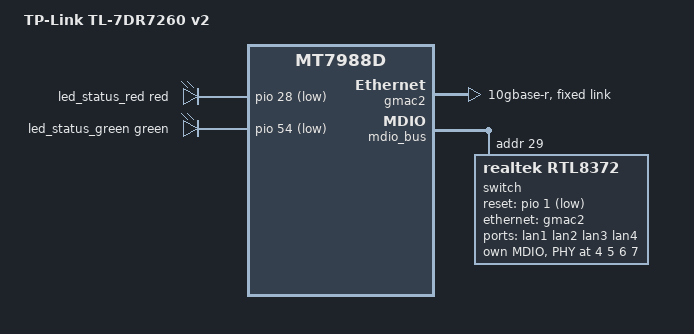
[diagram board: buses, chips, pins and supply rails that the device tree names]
// SPDX-License-Identifier: GPL-2.0-or-later OR MIT

/dts-v1/;
#include "mt7988d-tplink-tl-7dr72xx.dtsi"

/ {
	model = "TP-Link TL-7DR7260 v2";
	compatible = "tplink,tl-7dr7260-v2", "mediatek,mt7988d";

	aliases {
		label-mac-device = &gmac2;
		led-boot = &led_status_green;
		led-failsafe = &led_status_red;
		led-running = &led_status_green;
		led-upgrade = &led_status_red;
	};

	leds {
		compatible = "gpio-leds";

		led_status_red: status-red {
			function = LED_FUNCTION_STATUS;
			color = <LED_COLOR_ID_RED>;
			gpios = <&pio 28 GPIO_ACTIVE_LOW>;
		};

		led_status_green: status-green {
			function = LED_FUNCTION_STATUS;
			color = <LED_COLOR_ID_GREEN>;
			gpios = <&pio 54 GPIO_ACTIVE_LOW>;
		};
	};
};

&gmac1 {
	nvmem-cells = <&macaddr_config_1c 1>;
	nvmem-cell-names = "mac-address";
};

&gmac2 {
	nvmem-cells = <&macaddr_config_1c 0>;
	nvmem-cell-names = "mac-address";
	phy-mode = "10gbase-r";
	status = "okay";

	fixed-link {
		speed = <10000>;
		full-duplex;
		pause;
	};
};

&mdio_bus {
	switch@29 {
		compatible = "realtek,rtl8372";
		reg = <29>;
		reset-gpios = <&pio 1 GPIO_ACTIVE_LOW>;

		mdio {
			#address-cells = <1>;
			#size-cells = <0>;

			phy4: ethernet-phy@4 {
				reg = <4>;
			};

			phy5: ethernet-phy@5 {
				reg = <5>;
			};

			phy6: ethernet-phy@6 {
				reg = <6>;
			};

			phy7: ethernet-phy@7 {
				reg = <7>;
			};
		};

		ports {
			#address-cells = <1>;
			#size-cells = <0>;

			port@3 {
				reg = <3>;
				ethernet = <&gmac2>;
				phy-mode = "10gbase-r";

				fixed-link {
					speed = <10000>;
					full-duplex;
					pause;
				};
			};

			port@4 {
				reg = <4>;
				label = "lan1";
				phy-handle = <&phy4>;
				phy-mode = "internal";
			};

			port@5 {
				reg = <5>;
				label = "lan2";
				phy-handle = <&phy5>;
				phy-mode = "internal";
			};

			port@6 {
				reg = <6>;
				label = "lan3";
				phy-handle = <&phy6>;
				phy-mode = "internal";
			};

			port@7 {
				reg = <7>;
				label = "lan4";
				phy-handle = <&phy7>;
				phy-mode = "internal";
			};
		};
	};
};

&switch {
	status = "disabled";
};
